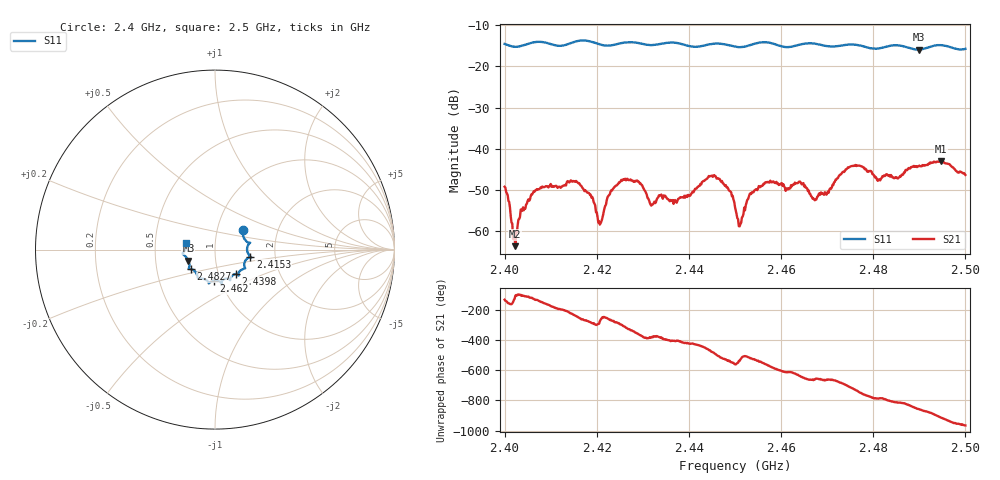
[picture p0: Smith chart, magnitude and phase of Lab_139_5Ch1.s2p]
# Hz S RI R 50
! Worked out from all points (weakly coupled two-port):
!   601 points, 2.4 GHz to 2.5 GHz, reference 50 ohm
!   highest |S21| = -43.07 dB at 2.4947 GHz (marker M1); lowest = -63.8 dB at 2.4023 GHz (marker M2)
!   lowest |S11| = -15.9 dB at 2.4898 GHz (marker M3), VSWR 1.38, Z = 36.9 - j4.64 ohm
!   |S11| at or under -10 dB: start of sweep to end of sweep
!   S12 and S22 are empty: the file has one direction only
!   S11 on the Smith chart (normalised r, x): 2.4 GHz: 1.33, +0.29; 2.4153 GHz: 1.48, -0.12; 2.4398 GHz: 1.21, -0.34; 2.462 GHz: 0.93, -0.33; 2.4827 GHz: 0.75, -0.17; 2.5 GHz: 0.72, +0.06
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2.4e9  0.1553 0.1067  -0.00228 -0.00257  0 0  0 0
2.402333e9  0.1594 0.0687  -0.000168 -0.000627  0 0  0 0
2.4065e9  0.1942 0.0375  -0.00191 -0.0023  0 0  0 0
2.415333e9  0.197 -0.0391  -0.00211 0.00334  0 0  0 0
2.416667e9  0.2028 -0.0434  -0.000468 0.00347  0 0  0 0
2.420667e9  0.1787 -0.0505  0.000101 0.00118  0 0  0 0
2.425667e9  0.1663 -0.1005  0.00239 0.00347  0 0  0 0
2.433333e9  0.1297 -0.1338  0.00244 -0.000742  0 0  0 0
2.439833e9  0.1154 -0.136  0.00131 -0.00239  0 0  0 0
2.445333e9  0.0836 -0.1697  -0.0025 -0.00397  0 0  0 0
2.45e9  0.0652 -0.1618  -0.00183 0.000667  0 0  0 0
2.451167e9  0.0524 -0.1639  -0.00118 -0.000241  0 0  0 0
2.453167e9  0.0377 -0.1773  -0.00255 -0.00111  0 0  0 0
2.4565e9  0.0391 -0.1936  -0.00366 0.0012  0 0  0 0
2.462e9  -0.00532 -0.1733  -0.00105 0.00312  0 0  0 0
2.466667e9  -0.0346 -0.1881  0.00141 0.00218  0 0  0 0
2.475667e9  -0.0947 -0.1589  0.00617 -0.000253  0 0  0 0
2.482667e9  -0.135 -0.1087  0.00139 -0.0045  0 0  0 0
2.483333e9  -0.14 -0.1082  0.000657 -0.0046  0 0  0 0
2.489833e9  -0.1481 -0.0613  -0.00446 -0.00415  0 0  0 0
2.494667e9  -0.1808 -0.0202  -0.00683 0.00165  0 0  0 0
2.5e9  -0.1596 0.0389  -0.00195 0.00437  0 0  0 0
